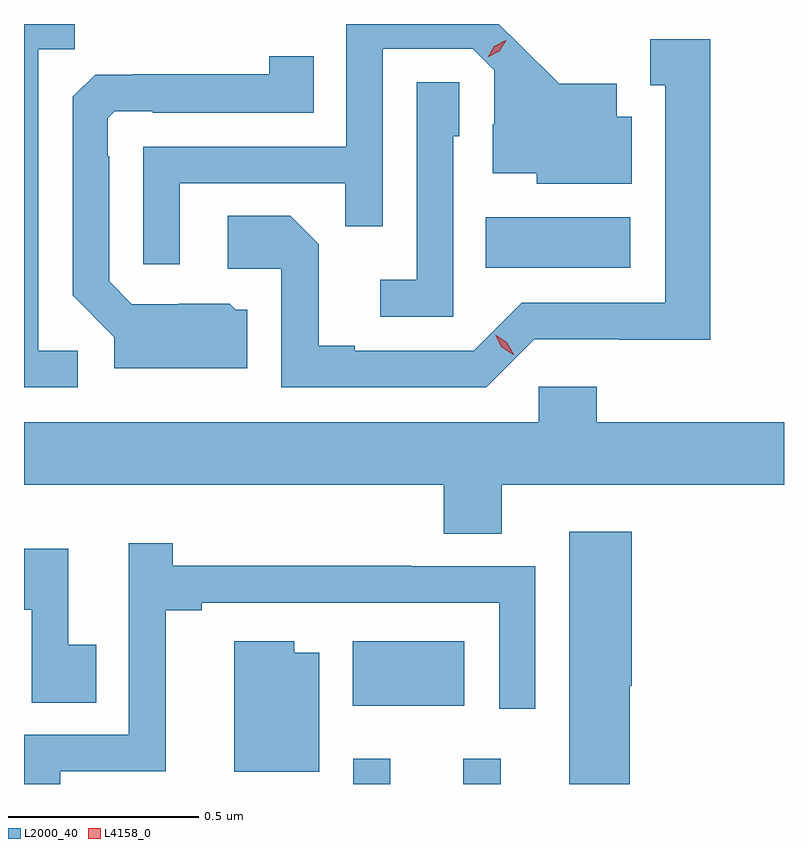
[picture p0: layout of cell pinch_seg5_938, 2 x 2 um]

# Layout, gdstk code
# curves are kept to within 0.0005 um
import gdstk
lib = gdstk.Library(unit=1e-6, precision=1e-09)
def R(c, l, rs):  # rectangles x0, y0, x1, y1
    for r in rs: c.add(gdstk.rectangle(r[:2], r[2:], *l))
def P(c, l, *ps):  # polygons
    for p in ps: c.add(gdstk.Polygon(p, *l))
L2000_40 = (2000, 40)
L4158_0 = (4158, 0)

pinch_seg5_938 = lib.new_cell('pinch_seg5_938')
R(pinch_seg5_938, L2000_40, [(747.519,890.604,747.617,890.671), (747.809,890.604,747.908,890.671), (747.518,890.81,747.811,890.98), (747.868,891.962,748.249,892.096)])
P(pinch_seg5_938, L2000_40, [(746.794,891.744),(746.691,891.744),(746.691,892.537),(746.787,892.537),(746.787,892.604),(746.653,892.604),(746.653,891.648),(746.794,891.648)],
  [(747.063,892.185),(747.499,892.185),(747.499,892.072),(747.597,892.072),(747.597,892.539),(747.834,892.539),(747.891,892.482),(747.891,892.34),(747.887,892.34),(747.887,892.211),(748.002,892.211),(748.002,892.184),(748.252,892.184),(748.252,892.36),(748.213,892.36),(748.213,892.447),(748.061,892.447),(747.902,892.604),(747.501,892.604),(747.501,892.281),(746.967,892.281),(746.967,891.972),(747.063,891.972)],
  [(747.996,891.774),(748.218,891.774),(748.218,891.773),(748.459,891.773),(748.459,892.564),(748.301,892.564),(748.301,892.443),(748.34,892.443),(748.34,891.87),(747.963,891.87),(747.837,891.744),(747.523,891.744),(747.523,891.757),(747.429,891.757),(747.429,892.024),(747.353,892.1),(747.189,892.1),(747.189,891.96),(747.33,891.96),(747.33,891.648),(747.87,891.648)],
  [(747.241,891.852),(747.21,891.852),(747.194,891.868),(747.06,891.868),(747.06,891.867),(746.937,891.867),(746.877,891.927),(746.877,892.256),(746.874,892.256),(746.874,892.356),(746.892,892.374),(746.992,892.374),(746.992,892.371),(747.416,892.371),(747.416,892.519),(747.298,892.519),(747.298,892.472),(746.941,892.472),(746.941,892.471),(746.84,892.471),(746.781,892.412),(746.781,891.89),(746.891,891.78),(746.891,891.698),(747.241,891.698)],
  [(747.783,892.308),(747.798,892.308),(747.798,892.451),(747.687,892.451),(747.687,891.931),(747.591,891.931),(747.591,891.834),(747.783,891.834)],
  [(747.91,891.392),(748.653,891.392),(748.653,891.556),(748.16,891.556),(748.16,891.649),(748.008,891.649),(748.008,891.556),(746.653,891.556),(746.653,891.392),(747.758,891.392),(747.758,891.262),(747.91,891.262)],
  [(748.247,890.862),(748.252,890.862),(748.252,891.268),(748.088,891.268),(748.088,890.604),(748.247,890.604)],
  [(746.749,890.637),(747.026,890.637),(747.026,891.061),(747.121,891.061),(747.121,891.081),(747.903,891.081),(747.903,890.802),(747.999,890.802),(747.999,891.177),(747.674,891.177),(747.674,891.179),(747.044,891.179),(747.044,891.238),(746.928,891.238),(746.928,890.733),(746.653,890.733),(746.653,890.604),(746.749,890.604)],
  [(746.843,890.97),(746.77,890.97),(746.77,891.223),(746.653,891.223),(746.653,891.062),(746.673,891.062),(746.673,890.818),(746.843,890.818)],
  [(747.43,890.95),(747.364,890.95),(747.364,890.98),(747.206,890.98),(747.206,890.636),(747.43,890.636)])
P(pinch_seg5_938, L4158_0, [(747.873,892.516),(747.873,892.516),(747.89,892.546),(747.921,892.561),(747.922,892.561),(747.922,892.561),(747.904,892.532),(747.873,892.516)],
  [(747.941,891.734),(747.91,891.753),(747.893,891.786),(747.893,891.786),(747.893,891.786),(747.924,891.767),(747.942,891.735),(747.942,891.734)])

lib.write_gds('pinch_seg5_938.gds')
